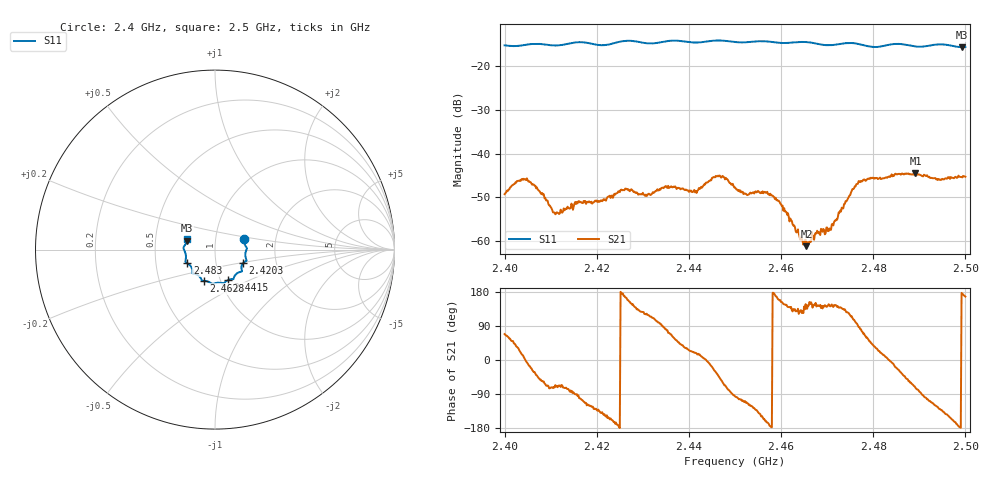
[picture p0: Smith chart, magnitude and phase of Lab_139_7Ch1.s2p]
# Hz S RI R 50
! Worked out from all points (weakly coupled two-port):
!   601 points, 2.4 GHz to 2.5 GHz, reference 50 ohm
!   highest |S21| = -44.41 dB at 2.4892 GHz (marker M1); lowest = -61.1 dB at 2.4655 GHz (marker M2)
!   lowest |S11| = -15.7 dB at 2.4993 GHz (marker M3), VSWR 1.39, Z = 36.4 + j3.68 ohm
!   |S11| at or under -10 dB: start of sweep to end of sweep
!   S12 and S22 are empty: the file has one direction only
!   S11 on the Smith chart (normalised r, x): 2.4 GHz: 1.37, +0.16; 2.4203 GHz: 1.35, -0.21; 2.4415 GHz: 1.09, -0.38; 2.4628 GHz: 0.83, -0.30; 2.483 GHz: 0.73, -0.11; 2.5 GHz: 0.73, +0.09
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2.4e9  0.1617 0.0566  0.00127 0.00321  0 0  0 0
2.404333e9  0.172 0.017  0.00506 0.000345  0 0  0 0
2.411e9  0.1694 -0.0207  0.000812 -0.00186  0 0  0 0
2.416667e9  0.1753 -0.0619  -0.000694 -0.00268  0 0  0 0
2.420333e9  0.1561 -0.0747  -0.00189 -0.00218  0 0  0 0
2.425833e9  0.1507 -0.1184  -0.00377 0.0007  0 0  0 0
2.430667e9  0.127 -0.1296  -0.00172 0.00294  0 0  0 0
2.433333e9  0.1084 -0.1481  -0.000573 0.00376  0 0  0 0
2.4415e9  0.0731 -0.1689  0.00355 0.00121  0 0  0 0
2.446333e9  0.0481 -0.1886  0.00425 -0.00365  0 0  0 0
2.45e9  0.0298 -0.1846  -0.000412 -0.0041  0 0  0 0
2.458e9  -0.0236 -0.1856  -0.00334 -0.000142  0 0  0 0
2.462833e9  -0.0623 -0.1743  -0.000999 0.00114  0 0  0 0
2.4655e9  -0.0726 -0.1718  -0.00063 0.000616  0 0  0 0
2.466667e9  -0.0753 -0.1674  -0.00108 0.000687  0 0  0 0
2.470833e9  -0.1 -0.1401  -0.00109 0.0008  0 0  0 0
2.476833e9  -0.1254 -0.1254  0.000244 0.00486  0 0  0 0
2.483e9  -0.1542 -0.0764  0.00527 0.000484  0 0  0 0
2.483333e9  -0.1564 -0.0751  0.00544 2.75e-05  0 0  0 0
2.489167e9  -0.1615 -0.0398  0.00173 -0.00577  0 0  0 0
2.499333e9  -0.1556 0.0493  -0.00534 0.000474  0 0  0 0
2.5e9  -0.1537 0.0579  -0.00532 0.00119  0 0  0 0
